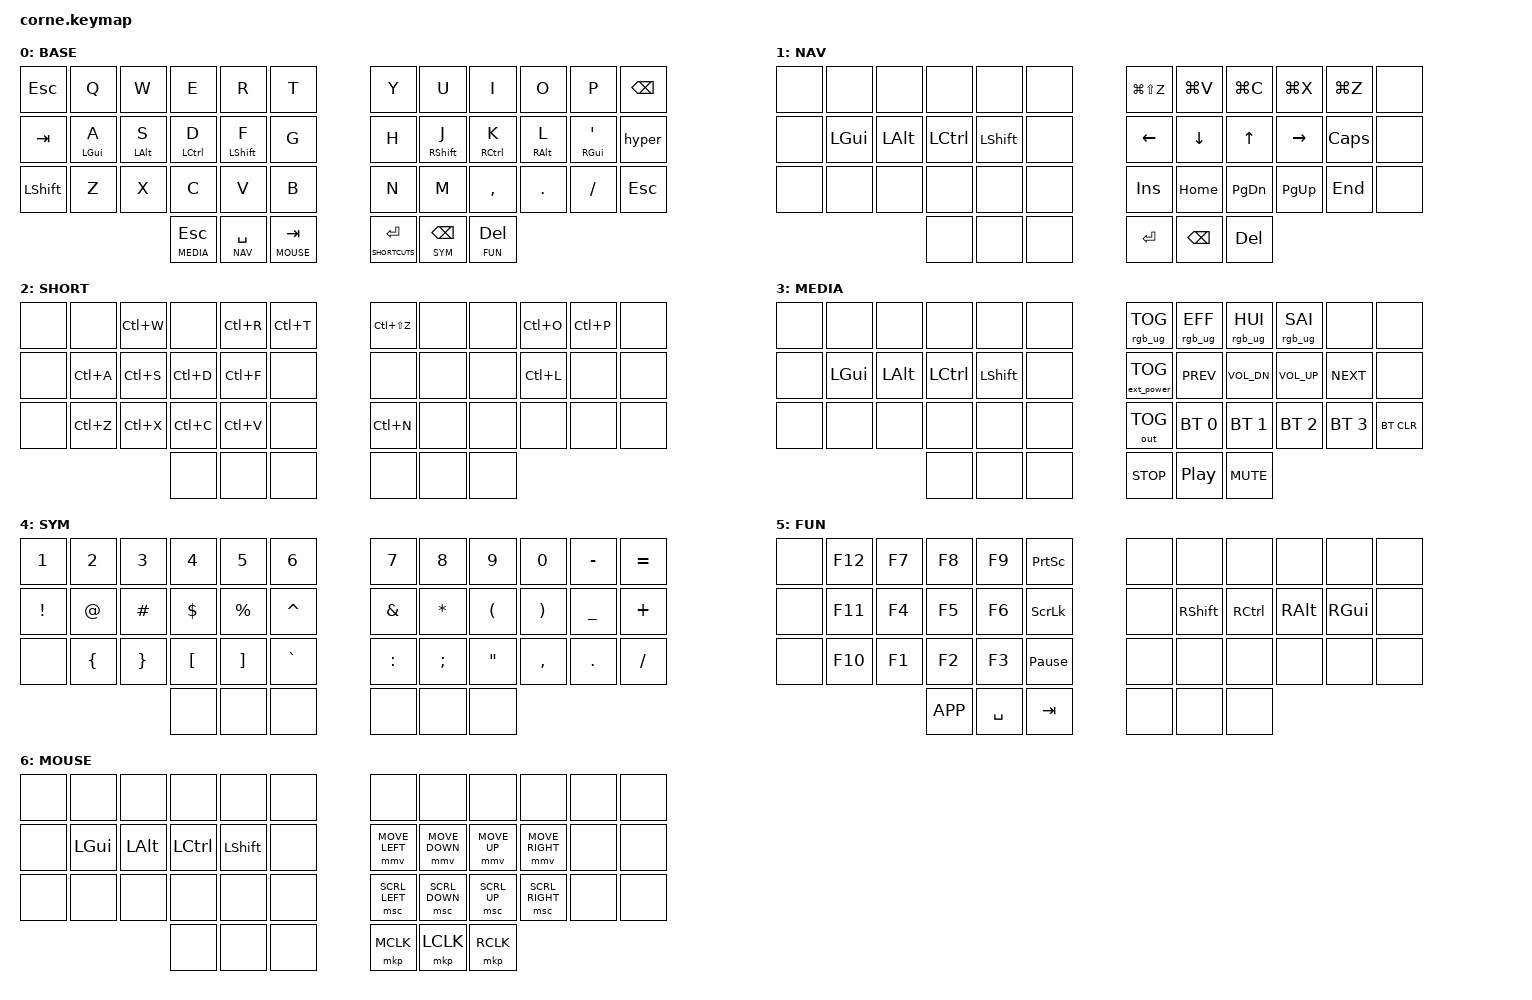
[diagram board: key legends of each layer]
/*
 * Copyright (c) 2020 The ZMK Contributors
 *
 * SPDX-License-Identifier: MIT
 */

//
//   Corne layout — QWERTY base, vim arrows (HJKL), GACS home row mods
//
//   Layer 0: BASE       — QWERTY + home row mods
//   Layer 1: NAV        — vim arrows, clipboard, nav (hold SPACE)
//   Layer 2: SHORTCUTS  — Linux Ctrl shortcuts (hold ENTER)
//   Layer 3: MEDIA      — media, BT, RGB (hold ESC)
//   Layer 4: SYM        — numbers + symbols (hold BSPC)
//   Layer 5: FUN        — function keys (hold DEL)
//   Layer 6: MOUSE      — mouse movement, scroll, buttons (hold TAB)
//
//   Home row mods: positional hold-tap (hml/hmr) for fast typing without lag

#include <behaviors.dtsi>
#include <dt-bindings/zmk/bt.h>
#include <dt-bindings/zmk/ext_power.h>
#include <dt-bindings/zmk/keys.h>
#include <dt-bindings/zmk/outputs.h>
#include <dt-bindings/zmk/pointing.h>
#include <dt-bindings/zmk/rgb.h>

#define BASE      0
#define NAV       1
#define SHORTCUTS 2
#define MEDIA     3
#define SYM       4
#define FUN       5
#define MOUSE     6

// Corne key positions (42 keys):
// Row 0:  0  1  2  3  4  5    6  7  8  9  10  11
// Row 1: 12 13 14 15 16 17   18 19 20 21  22  23
// Row 2: 24 25 26 27 28 29   30 31 32 33  34  35a
// Thumb:          36 37 38   39 40 41

#define KEYS_L 0 1 2 3 4 5 12 13 14 15 16 17 24 25 26 27 28 29
#define KEYS_R 6 7 8 9 10 11 18 19 20 21 22 23 30 31 32 33 34 35
#define THUMBS 36 37 38 39 40 41

&lt {
    flavor = "balanced";
    tapping-term-ms = <220>;
    quick-tap-ms = <175>;
    require-prior-idle-ms = <175>;
};

/ {
    behaviors {
        hml: home_row_mod_left {
            compatible = "zmk,behavior-hold-tap";
            #binding-cells = <2>;
            flavor = "balanced";
            tapping-term-ms = <280>;
            quick-tap-ms = <175>;
            require-prior-idle-ms = <175>;
            bindings = <&kp>, <&kp>;
            hold-trigger-key-positions = <KEYS_R THUMBS>;
            hold-trigger-on-release;
        };

        hmr: home_row_mod_right {
            compatible = "zmk,behavior-hold-tap";
            #binding-cells = <2>;
            flavor = "balanced";
            tapping-term-ms = <280>;
            quick-tap-ms = <175>;
            require-prior-idle-ms = <175>;
            bindings = <&kp>, <&kp>;
            hold-trigger-key-positions = <KEYS_L THUMBS>;
            hold-trigger-on-release;
        };
    };

    macros {
        hyper: hyper {
            compatible = "zmk,behavior-macro";
            #binding-cells = <0>;
            bindings =
                <&macro_press &kp LGUI &kp LALT &kp LCTRL &kp LSHFT>,
                <&macro_pause_for_release>,
                <&macro_release &kp LGUI &kp LALT &kp LCTRL &kp LSHFT>;
        };
    };

    keymap {
        compatible = "zmk,keymap";

        base_layer {
            display-name = "BASE";
            bindings = <
&kp ESC        &kp Q       &kp W       &kp E         &kp R         &kp T          &kp Y       &kp U         &kp I         &kp O        &kp P        &kp BSPC
&kp TAB        &hml LGUI A  &hml LALT S  &hml LCTRL D  &hml LSHFT F  &kp G          &kp H       &hmr RSHFT J  &hmr RCTRL K  &hmr RALT L  &hmr RGUI SQT &hyper
&kp LSHFT      &kp Z       &kp X       &kp C         &kp V         &kp B          &kp N       &kp M         &kp COMMA     &kp DOT      &kp FSLH     &kp ESC
                                        &lt MEDIA ESC &lt NAV SPACE &lt MOUSE TAB  &lt SHORTCUTS RET &lt SYM BSPC  &lt FUN DEL
            >;
        };

        nav_layer {
            display-name = "NAV";
            bindings = <
&none          &none       &none       &none         &none         &none          &kp LG(LS(Z)) &kp LG(V)   &kp LG(C)     &kp LG(X)    &kp LG(Z)    &none
&none          &kp LGUI    &kp LALT    &kp LCTRL     &kp LSHFT     &none          &kp LEFT    &kp DOWN      &kp UP        &kp RIGHT    &kp CAPS     &none
&none          &none       &none       &none         &none         &none          &kp INS     &kp HOME      &kp PG_DN     &kp PG_UP    &kp END      &none
                                       &none         &none         &none          &kp RET     &kp BSPC      &kp DEL
            >;
        };

        shortcuts_layer {
            display-name = "SHORT";
            // Same positions as BASE letters — hold Enter layer, press the letter
            bindings = <
&none          &none       &kp LC(W)   &none         &kp LC(R)     &kp LC(T)      &kp LC(LS(Z)) &none       &none         &kp LC(O)    &kp LC(P)    &none
&none          &kp LC(A)   &kp LC(S)   &kp LC(D)     &kp LC(F)     &none          &none       &none         &none         &kp LC(L)    &none        &none
&none          &kp LC(Z)   &kp LC(X)   &kp LC(C)     &kp LC(V)     &none          &kp LC(N)   &none         &none         &none        &none        &none
                                       &none         &none         &none          &none       &none         &none
            >;
        };

        media_layer {
            display-name = "MEDIA";
            bindings = <
&none          &none       &none       &none         &none         &none          &rgb_ug RGB_TOG &rgb_ug RGB_EFF &rgb_ug RGB_HUI &rgb_ug RGB_SAI &none      &none
&none          &kp LGUI    &kp LALT    &kp LCTRL     &kp LSHFT     &none          &ext_power EP_TOG &kp C_PREV  &kp C_VOL_DN  &kp C_VOL_UP &kp C_NEXT   &none
&none          &none       &none       &none         &none         &none          &out OUT_TOG &bt BT_SEL 0  &bt BT_SEL 1  &bt BT_SEL 2 &bt BT_SEL 3 &bt BT_CLR
                                       &none         &none         &none          &kp C_STOP  &kp C_PP      &kp C_MUTE
            >;
        };

        sym_layer {
            display-name = "SYM";
            bindings = <
&kp N1         &kp N2      &kp N3      &kp N4        &kp N5        &kp N6         &kp N7      &kp N8        &kp N9        &kp N0       &kp MINUS    &kp EQUAL
&kp EXCL       &kp AT      &kp HASH    &kp DLLR      &kp PRCNT     &kp CARET      &kp AMPS    &kp ASTRK     &kp LPAR      &kp RPAR     &kp UNDER    &kp PLUS
&none          &kp LBRC    &kp RBRC    &kp LBKT      &kp RBKT      &kp GRAVE      &kp COLON   &kp SEMI      &kp DQT       &kp COMMA    &kp DOT      &kp FSLH
                                       &none         &none         &none         &none       &none         &none
            >;
        };

        fun_layer {
            display-name = "FUN";
            bindings = <
&none          &kp F12     &kp F7      &kp F8        &kp F9        &kp PSCRN      &none       &none         &none         &none        &none        &none
&none          &kp F11     &kp F4      &kp F5        &kp F6        &kp SLCK       &none       &kp RSHFT     &kp RCTRL     &kp RALT     &kp RGUI     &none
&none          &kp F10     &kp F1      &kp F2        &kp F3        &kp PAUSE_BREAK &none      &none         &none         &none        &none        &none
                                       &kp K_APP     &kp SPACE     &kp TAB        &none       &none         &none
            >;
        };

        mouse_layer {
            display-name = "MOUSE";
            bindings = <
&none          &none       &none       &none         &none         &none          &none            &none            &none          &none             &none        &none
&none          &kp LGUI    &kp LALT    &kp LCTRL     &kp LSHFT     &none          &mmv MOVE_LEFT   &mmv MOVE_DOWN   &mmv MOVE_UP   &mmv MOVE_RIGHT   &none        &none
&none          &none       &none       &none         &none         &none          &msc SCRL_LEFT   &msc SCRL_DOWN   &msc SCRL_UP   &msc SCRL_RIGHT   &none        &none
                                       &none         &none         &none          &mkp MCLK        &mkp LCLK        &mkp RCLK
            >;
        };
    };
};
